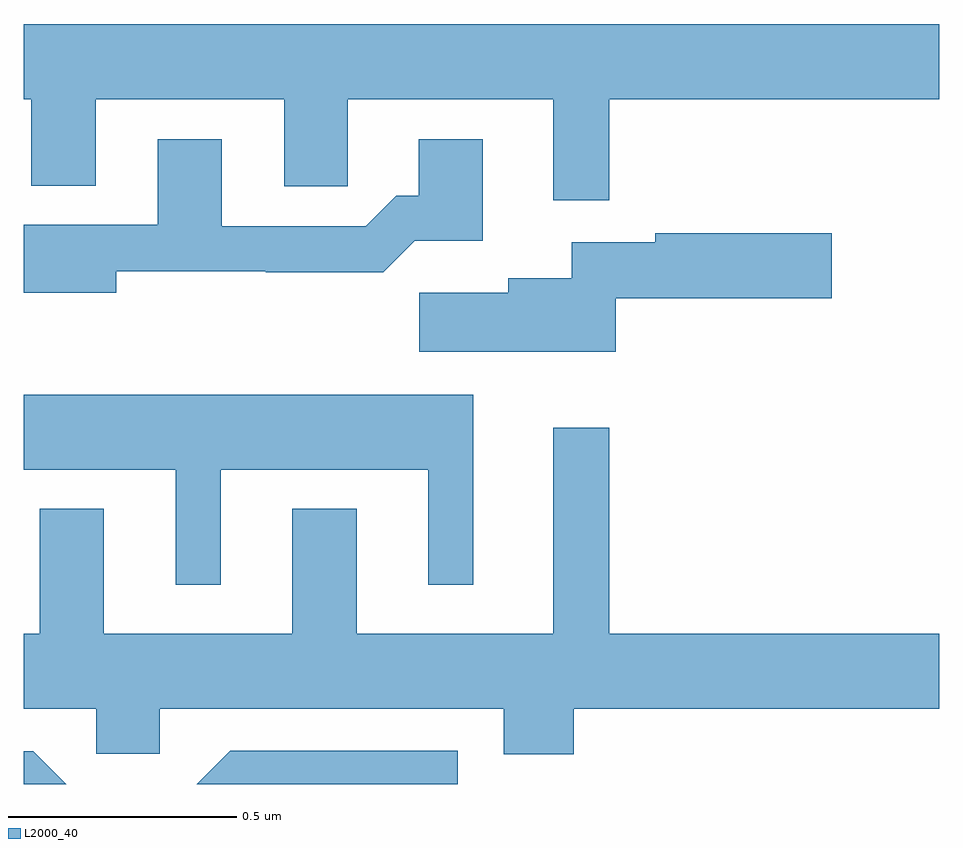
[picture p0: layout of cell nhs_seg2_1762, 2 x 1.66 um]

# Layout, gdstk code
import gdstk
lib = gdstk.Library(unit=1e-6, precision=1e-09)
def P(c, l, *ps):  # polygons
    for p in ps: c.add(gdstk.Polygon(p, *l))
L2000_40 = (2000, 40)

nhs_seg2_1762 = lib.new_cell('nhs_seg2_1762')
P(nhs_seg2_1762, L2000_40, [(133.279,654.296),(134,654.296),(134,654.46),(132,654.46),(132,654.296),(132.017,654.296),(132.017,654.107),(132.157,654.107),(132.157,654.296),(132.569,654.296),(132.569,654.106),(132.708,654.106),(132.708,654.296),(133.157,654.296),(133.157,654.075),(133.279,654.075)],
  [(132.202,653.92),(132.529,653.92),(132.529,653.918),(132.785,653.918),(132.854,653.987),(133.003,653.987),(133.003,654.208),(132.863,654.208),(132.863,654.085),(132.814,654.085),(132.747,654.018),(132.433,654.018),(132.433,654.208),(132.293,654.208),(132.293,654.021),(132.087,654.021),(132.087,654.022),(132,654.022),(132,653.873),(132.202,653.873)],
  [(133.293,653.861),(133.765,653.861),(133.765,654.003),(133.38,654.003),(133.38,653.983),(133.197,653.983),(133.197,653.905),(133.058,653.905),(133.058,653.873),(132.864,653.873),(132.864,653.744),(133.293,653.744)],
  [(132.43,653.486),(132.884,653.486),(132.884,653.235),(132.982,653.235),(132.982,653.65),(132,653.65),(132,653.486),(132.332,653.486),(132.332,653.235),(132.43,653.235)],
  [(133.202,652.964),(134,652.964),(134,653.128),(133.279,653.128),(133.279,653.578),(133.157,653.578),(133.157,653.128),(132.727,653.128),(132.727,653.401),(132.587,653.401),(132.587,653.128),(132.175,653.128),(132.175,653.401),(132.035,653.401),(132.035,653.128),(132,653.128),(132,652.964),(132.159,652.964),(132.159,652.866),(132.297,652.866),(132.297,652.964),(133.049,652.964),(133.049,652.865),(133.202,652.865)],
  [(132.948,652.873),(132.451,652.873),(132.378,652.8),(132.948,652.8)],
  [(132.021,652.872),(132,652.872),(132,652.8),(132.093,652.8)])

lib.write_gds('nhs_seg2_1762.gds')
